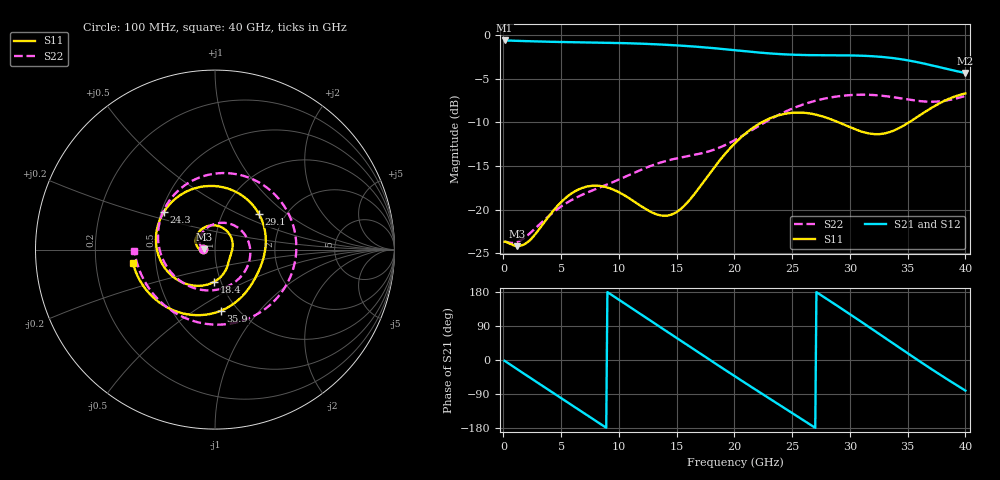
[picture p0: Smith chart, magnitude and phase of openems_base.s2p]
! D_s8_cap_none: L1 (ref L2 GND) → L3 (ref L4 PWR), no capacitor
! stackup: 8-layer 1.6 mm FR-4 (generic)
! ports: 1, 2
! openEMS 0.37.0, staircase, base mesh (dfine 0.035 mm), 886275 cells
# Hz S RI R 50
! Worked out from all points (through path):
!   400 points, 100 MHz to 40 GHz, reference 50 ohm
!   highest |S21| = -0.61 dB at 100 MHz (marker M1); lowest = -4.3 dB at 40 GHz (marker M2)
!   group delay of S21, straight-line fit = 55.6 ps
!   lowest |S11| = -24.2 dB at 1.2 GHz (marker M3), VSWR 1.13, Z = 44.2 + j0.16 ohm
!   |S11| at or under -10 dB: start of sweep to 22.36 GHz; 29.03 GHz to 35.11 GHz (6.071 GHz wide, 18.9 % of centre)
!   |S22| runs from -23.8 to -6.8 dB; largest |S21 - S12| = 0.011
!   S11 on the Smith chart (normalised r, x): 100 MHz: 0.88, +0.00; 18.4 GHz: 0.93, -0.34; 24.3 GHz: 0.52, +0.24; 29.1 GHz: 1.48, +0.65; 35.9 GHz: 0.84, -0.65; 40 GHz: 0.37, -0.07
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1e8  -0.0655 0.000704  0.932 -0.0336  0.9322 -0.0336  -0.0656 0.000844
1.2e9  -0.0617 0.00181  0.8442 -0.3845  0.8445 -0.3842  -0.0652 0.00505
2.7e9  -0.0715 -0.00273  0.5327 -0.7517  0.5333 -0.7513  -0.076 0.0151
4.1e9  -0.0942 0.00989  0.1163 -0.9089  0.1174 -0.9087  -0.0855 0.0391
5.4e9  -0.1074 0.0462  -0.2925 -0.8644  -0.291 -0.8648  -0.0829 0.0701
6.8e9  -0.0893 0.0986  -0.6616 -0.6238  -0.6603 -0.6252  -0.0647 0.1029
8.3e9  -0.0277 0.1341  -0.8821 -0.2077  -0.8817 -0.2098  -0.0315 0.1299
9.8e9  0.0467 0.1189  -0.8634 0.2627  -0.864 0.2603  0.0125 0.1464
1.17e10  0.0966 0.0462  -0.5101 0.7354  -0.5125 0.7333  0.0865 0.1427
1.34e10  0.0922 -0.0146  -0.0065 0.8854  -0.0106 0.8851  0.1594 0.0927
1.61e10  0.0708 -0.0884  0.7001 0.5072  0.6978 0.5119  0.1814 -0.0919
1.84e10  -0.00536 -0.1798  0.8266 -0.1505  0.829 -0.1462  0.0204 -0.2218
2.01e10  -0.1421 -0.1964  0.5874 -0.5709  0.5913 -0.5688  -0.1556 -0.198
2.22e10  -0.3075 -0.0526  0.0627 -0.7919  0.0671 -0.7923  -0.3042 -0.0171
2.43e10  -0.2861 0.2078  -0.4601 -0.6258  -0.4565 -0.6288  -0.2814 0.2275
2.67e10  -0.00488 0.3543  -0.7627 -0.0916  -0.7617 -0.0967  -0.0585 0.4111
2.91e10  0.2462 0.1964  -0.5797 0.5016  -0.5832 0.4953  0.2427 0.3758
3.13e10  0.276 -0.0206  -0.0575 0.7591  -0.0675 0.7579  0.434 0.1395
3.34e10  0.2135 -0.1777  0.469 0.5767  0.4625 0.5857  0.4051 -0.183
3.59e10  0.0328 -0.3406  0.6991 -0.00812  0.7039 -0.000801  0.0589 -0.4158
3.8e10  -0.2519 -0.3292  0.4788 -0.4393  0.4846 -0.4375  -0.2872 -0.3054
4e10  -0.4571 -0.0767  0.0984 -0.5994  0.1036 -0.6001  -0.4489 -0.00985
